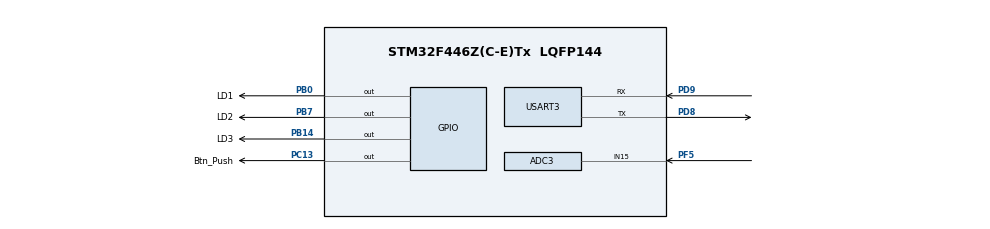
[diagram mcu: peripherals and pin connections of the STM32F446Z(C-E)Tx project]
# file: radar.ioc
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ADC3.Channel-0\#ChannelRegularConversion=ADC_CHANNEL_15
ADC3.ClockPrescaler=ADC_CLOCK_SYNC_PCLK_DIV2
ADC3.ContinuousConvMode=ENABLE
ADC3.DMAContinuousRequests=ENABLE
ADC3.InjNumberOfConversion=0
ADC3.NbrOfConversionFlag=1
ADC3.Rank-0\#ChannelRegularConversion=1
ADC3.SamplingTime-0\#ChannelRegularConversion=ADC_SAMPLETIME_3CYCLES
Dma.ADC3.0.Direction=DMA_PERIPH_TO_MEMORY
Dma.ADC3.0.FIFOMode=DMA_FIFOMODE_DISABLE
Dma.ADC3.0.Instance=DMA2_Stream0
Dma.ADC3.0.MemDataAlignment=DMA_MDATAALIGN_HALFWORD
Dma.ADC3.0.MemInc=DMA_MINC_ENABLE
Dma.ADC3.0.Mode=DMA_CIRCULAR
Dma.ADC3.0.PeriphDataAlignment=DMA_PDATAALIGN_HALFWORD
Dma.ADC3.0.PeriphInc=DMA_PINC_DISABLE
Dma.ADC3.0.Priority=DMA_PRIORITY_LOW
Dma.Request0=ADC3
Mcu.Family=STM32F4
Mcu.Name=STM32F446Z(C-E)Tx
Mcu.Package=LQFP144
NVIC.DMA2_Stream0_IRQn=true\:0\:0\:false\:false\:true\:false\:true\:true
NVIC.PriorityGroup=NVIC_PRIORITYGROUP_4
PB0.GPIO_Label=LD1
PB0.Signal=GPIO_Output
PB14.GPIO_Label=LD3
PB14.Signal=GPIO_Output
PB7.GPIO_Label=LD2
PB7.Signal=GPIO_Output
PC13.GPIO_Label=Btn_Push
PC13.Signal=GPIO_Output
PD8.Mode=Asynchronous
PD8.Signal=USART3_TX
PD9.Mode=Asynchronous
PD9.Signal=USART3_RX
PF5.Mode=IN15
PF5.Signal=ADC3_IN15
ProjectManager.HeapSize=0x200
ProjectManager.StackSize=0x400
ProjectManager.TargetToolchain=STM32CubeIDE
RCC.CortexFreq_Value=16000000
RCC.USBFreq_Value=96000000
RCC.VCOOutputFreq_Value=192000000
USART3.VirtualMode=VM_ASYNC
VP_TIM6_VS_ClockSourceINT.Mode=Enable_Timer
board=custom

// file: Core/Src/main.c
/* USER CODE BEGIN Header */
/**
  ******************************************************************************
  * @file           : main.c
  * @brief          : Main program body
  ******************************************************************************
  * @attention
  *
  * Copyright (c) 2024 STMicroelectronics.
  * All rights reserved.
  *
  * This software is licensed under terms that can be found in the LICENSE file
  * in the root directory of this software component.
  * If no LICENSE file comes with this software, it is provided AS-IS.
  *
  ******************************************************************************
  */
/* USER CODE END Header */
#include "main.h"

/* USER CODE BEGIN Includes */
#include "arm_math.h"
#include "arm_const_structs.h"
#include <math.h>
#include <stdio.h>
#include <string.h>
/* USER CODE END Includes */

/* USER CODE BEGIN PD */
#define TEST_LENGTH_SAMPLES 2048 //every even index of input is 0 (complex)
//#define ADC_CLOCKPRESCALER hadc3.Init.ClockPrescaler //see if this works
//#define ADC_SAMPLE_TIME hadc3.Init.Resolution/freq???
#define FFT_SIZE 1024 // Adjust the FFT size as needed
#define ADC_BUF_LEN 4096
/* USER CODE END PD */

ADC_HandleTypeDef hadc3;
DMA_HandleTypeDef hdma_adc3;

TIM_HandleTypeDef htim6;

UART_HandleTypeDef huart3;

/* USER CODE BEGIN PV */
extern float32_t testInput_f32_10khz[TEST_LENGTH_SAMPLES];
//static float32_t testOutput[TEST_LENGTH_SAMPLES/2];
uint16_t adc_buf[ADC_BUF_LEN];
uint8_t dma_hflag=0;
uint8_t dma_fflag=0;
/* USER CODE END PV */

void SystemClock_Config(void);
static void MX_GPIO_Init(void);
static void MX_DMA_Init(void);
static void MX_ADC3_Init(void);
static void MX_TIM6_Init(void);
static void MX_USART3_UART_Init(void);
/* USER CODE BEGIN PFP */
float32_t do_my_fft(float32_t* fft_input);
void print_msg(char * msg);

/* USER CODE END PFP */

/* USER CODE BEGIN 0 */
uint32_t fftSize = 1024;
uint32_t ifftFlag = 0;
uint32_t doBitReverse = 1;
arm_cfft_instance_f32 fft_instance;

float32_t fft_input[FFT_SIZE * 2];
static float32_t fft_output[FFT_SIZE];

//uint32_t adc_samples [FFT_SIZE];
//uint32_t adc_index=0;
float32_t freq;
arm_status math_status;
char message[100];

/* USER CODE END 0 */

int main(void)
{
  /* USER CODE BEGIN 1 */

	sprintf(message, "PRinting test\n");
	print_msg(message); //UART transmit
  /* USER CODE END 1 */

  /* MCU Configuration--------------------------------------------------------*/

  /* Reset of all peripherals, Initializes the Flash interface and the Systick. */
  HAL_Init();

  /* USER CODE BEGIN Init */

  //if(status==HAL_OK)
  //timer = __HAL_TIM_GET_COUNTER(&htim6);
  /* USER CODE END Init */

  /* Configure the system clock */
  SystemClock_Config();

  /* Initialize all configured peripherals */
  MX_GPIO_Init();
  MX_DMA_Init();
  MX_ADC3_Init();
  MX_TIM6_Init();
  MX_USART3_UART_Init();
  /* USER CODE BEGIN 2 */
  //  if(HAL_TIM_Base_Start(&htim6)!=HAL_OK){
  //	  Error_Handler(); //adjust the prescalar for TIM6 in config
  //  }
  //HAL_ADC_Start_DMA(&hadc3, (uint32_t*)adc_buf, ADC_BUF_LEN);

  /* USER CODE END 2 */

  /* Infinite loop */
  /* USER CODE BEGIN WHILE */
    while (1)
    {
  	  HAL_GPIO_TogglePin(LD2_GPIO_Port, LD2_Pin);
  	  HAL_Delay(10);

  	  print_msg("Printing\n");
  	  //print_msg("Hi");
  	  HAL_Delay(100);
  	  //timer= __HAL_TIM_GET_COUNTER(&htim6) - timer;

  	  //if (dma_hflag)
  	  freq=do_my_fft(testInput_f32_10khz);//on HALF the buffer
  	  //dma_hflag=0;
  	  if(freq!=0){
  		sprintf(message,"freq: %lf", freq);
  		print_msg(message);
  	  }

    /* USER CODE END WHILE */

  }
}

void SystemClock_Config(void)
{
  RCC_OscInitTypeDef RCC_OscInitStruct = {0};
  RCC_ClkInitTypeDef RCC_ClkInitStruct = {0};

  /** Configure the main internal regulator output voltage
  */
  __HAL_RCC_PWR_CLK_ENABLE();
  __HAL_PWR_VOLTAGESCALING_CONFIG(PWR_REGULATOR_VOLTAGE_SCALE3);

  /** Initializes the RCC Oscillators according to the specified parameters
  * in the RCC_OscInitTypeDef structure.
  */
  RCC_OscInitStruct.OscillatorType = RCC_OSCILLATORTYPE_HSI;
  RCC_OscInitStruct.HSIState = RCC_HSI_ON;
  RCC_OscInitStruct.HSICalibrationValue = RCC_HSICALIBRATION_DEFAULT;
  RCC_OscInitStruct.PLL.PLLState = RCC_PLL_NONE;
  if (HAL_RCC_OscConfig(&RCC_OscInitStruct) != HAL_OK)
  {
    Error_Handler();
  }

  /** Initializes the CPU, AHB and APB buses clocks
  */
  RCC_ClkInitStruct.ClockType = RCC_CLOCKTYPE_HCLK|RCC_CLOCKTYPE_SYSCLK
                              |RCC_CLOCKTYPE_PCLK1|RCC_CLOCKTYPE_PCLK2;
  RCC_ClkInitStruct.SYSCLKSource = RCC_SYSCLKSOURCE_HSI;
  RCC_ClkInitStruct.AHBCLKDivider = RCC_SYSCLK_DIV1;
  RCC_ClkInitStruct.APB1CLKDivider = RCC_HCLK_DIV1;
  RCC_ClkInitStruct.APB2CLKDivider = RCC_HCLK_DIV1;

  if (HAL_RCC_ClockConfig(&RCC_ClkInitStruct, FLASH_LATENCY_0) != HAL_OK)
  {
    Error_Handler();
  }
}

static void MX_ADC3_Init(void)
{

  ADC_ChannelConfTypeDef sConfig = {0};

  /** Configure the global features of the ADC (Clock, Resolution, Data Alignment and number of conversion)
  */
  hadc3.Instance = ADC3;
  hadc3.Init.ClockPrescaler = ADC_CLOCK_SYNC_PCLK_DIV2;
  hadc3.Init.Resolution = ADC_RESOLUTION_12B;
  hadc3.Init.ScanConvMode = DISABLE;
  hadc3.Init.ContinuousConvMode = ENABLE;
  hadc3.Init.DiscontinuousConvMode = DISABLE;
  hadc3.Init.ExternalTrigConvEdge = ADC_EXTERNALTRIGCONVEDGE_NONE;
  hadc3.Init.ExternalTrigConv = ADC_SOFTWARE_START;
  hadc3.Init.DataAlign = ADC_DATAALIGN_RIGHT;
  hadc3.Init.NbrOfConversion = 1;
  hadc3.Init.DMAContinuousRequests = ENABLE;
  hadc3.Init.EOCSelection = ADC_EOC_SINGLE_CONV;
  if (HAL_ADC_Init(&hadc3) != HAL_OK)
  {
    Error_Handler();
  }

  /** Configure for the selected ADC regular channel its corresponding rank in the sequencer and its sample time.
  */
  sConfig.Channel = ADC_CHANNEL_15;
  sConfig.Rank = 1;
  sConfig.SamplingTime = ADC_SAMPLETIME_3CYCLES;
  if (HAL_ADC_ConfigChannel(&hadc3, &sConfig) != HAL_OK)
  {
    Error_Handler();
  }

}

static void MX_TIM6_Init(void)
{

  TIM_MasterConfigTypeDef sMasterConfig = {0};

  htim6.Instance = TIM6;
  htim6.Init.Prescaler = 0;
  htim6.Init.CounterMode = TIM_COUNTERMODE_UP;
  htim6.Init.Period = 65535;
  htim6.Init.AutoReloadPreload = TIM_AUTORELOAD_PRELOAD_DISABLE;
  if (HAL_TIM_Base_Init(&htim6) != HAL_OK)
  {
    Error_Handler();
  }
  sMasterConfig.MasterOutputTrigger = TIM_TRGO_RESET;
  sMasterConfig.MasterSlaveMode = TIM_MASTERSLAVEMODE_DISABLE;
  if (HAL_TIMEx_MasterConfigSynchronization(&htim6, &sMasterConfig) != HAL_OK)
  {
    Error_Handler();
  }

}

static void MX_USART3_UART_Init(void)
{

  huart3.Instance = USART3;
  huart3.Init.BaudRate = 115200;
  huart3.Init.WordLength = UART_WORDLENGTH_8B;
  huart3.Init.StopBits = UART_STOPBITS_1;
  huart3.Init.Parity = UART_PARITY_NONE;
  huart3.Init.Mode = UART_MODE_TX_RX;
  huart3.Init.HwFlowCtl = UART_HWCONTROL_NONE;
  huart3.Init.OverSampling = UART_OVERSAMPLING_16;
  if (HAL_UART_Init(&huart3) != HAL_OK)
  {
    Error_Handler();
  }

}

static void MX_DMA_Init(void)
{

  /* DMA controller clock enable */
  __HAL_RCC_DMA2_CLK_ENABLE();

  /* DMA interrupt init */
  /* DMA2_Stream0_IRQn interrupt configuration */
  HAL_NVIC_SetPriority(DMA2_Stream0_IRQn, 0, 0);
  HAL_NVIC_EnableIRQ(DMA2_Stream0_IRQn);

}

static void MX_GPIO_Init(void)
{
  GPIO_InitTypeDef GPIO_InitStruct = {0};

  /* GPIO Ports Clock Enable */
  __HAL_RCC_GPIOC_CLK_ENABLE();
  __HAL_RCC_GPIOF_CLK_ENABLE();
  __HAL_RCC_GPIOB_CLK_ENABLE();
  __HAL_RCC_GPIOD_CLK_ENABLE();

  /*Configure GPIO pin Output Level */
  HAL_GPIO_WritePin(Btn_Push_GPIO_Port, Btn_Push_Pin, GPIO_PIN_RESET);

  /*Configure GPIO pin Output Level */
  HAL_GPIO_WritePin(GPIOB, LD1_Pin|LD3_Pin|LD2_Pin, GPIO_PIN_RESET);

  /*Configure GPIO pin : Btn_Push_Pin */
  GPIO_InitStruct.Pin = Btn_Push_Pin;
  GPIO_InitStruct.Mode = GPIO_MODE_OUTPUT_PP;
  GPIO_InitStruct.Pull = GPIO_NOPULL;
  GPIO_InitStruct.Speed = GPIO_SPEED_FREQ_LOW;
  HAL_GPIO_Init(Btn_Push_GPIO_Port, &GPIO_InitStruct);

  /*Configure GPIO pins : LD1_Pin LD3_Pin LD2_Pin */
  GPIO_InitStruct.Pin = LD1_Pin|LD3_Pin|LD2_Pin;
  GPIO_InitStruct.Mode = GPIO_MODE_OUTPUT_PP;
  GPIO_InitStruct.Pull = GPIO_NOPULL;
  GPIO_InitStruct.Speed = GPIO_SPEED_FREQ_LOW;
  HAL_GPIO_Init(GPIOB, &GPIO_InitStruct);

}

/* USER CODE BEGIN 4 */

//called when first half of buffer is full, now can use first LEN/2 samples
void HAL_ADC_ConvHalfCpltCallback(ADC_HandleTypeDef* hadc3){
	HAL_GPIO_WritePin(LD1_GPIO_Port, LD1_Pin, GPIO_PIN_SET);
	dma_hflag=1;
}

void HAL_ADC_ConvCpltCallback(ADC_HandleTypeDef* hadc3){
	HAL_GPIO_WritePin(LD1_GPIO_Port, LD1_Pin, GPIO_PIN_RESET);
	dma_fflag=1;
}

float32_t do_my_fft(float32_t* fft_input){ //since fft_input is an array

	// Convert ADC value to float32 and prepare the input buffer for FFT
	//float32_t input_sample = (float32_t)adc_val; //should there be a loop here? num samples is in fft_input, so array can hold up to 1048 or whatever
	//fft_input[0] = input_sample;
	//fft_input[1] = 0.0f;
	uint32_t peak_index=0;
	float32_t maxValue;

	math_status=arm_cfft_init_1024_f32(&fft_instance);
	// Perform FFT
	arm_cfft_f32(&fft_instance, fft_input,ifftFlag,doBitReverse);//forward, no bit reversal

	// Calculate magnitude spectrum
	arm_cmplx_mag_f32(fft_input, fft_output, FFT_SIZE);

	// Find peak index (index of dominant freq)
	arm_max_f32(fft_output, FFT_SIZE, &maxValue, &peak_index); //index of max value of fft output
	sprintf(message,"peak Index = %ld \n", peak_index);
	print_msg(message);//should be 213 for test
	// Calculate frequency in Hz
	uint8_t prescale=1;
	if (hadc3.Init.ClockPrescaler==ADC_CLOCK_SYNC_PCLK_DIV2)
		prescale=2;
	else if (hadc3.Init.ClockPrescaler==ADC_CLOCK_SYNC_PCLK_DIV4)
		prescale=4;
	uint32_t adc_clock_frequency = 0x1C9C380/prescale;//ADC clock prescaler=div4;
	uint32_t adc_conversions_per_second = 0x0;/* Number of ADC conversions per second */
	float32_t sampling_frequency = adc_clock_frequency / adc_conversions_per_second;

	//float32_t sampling_frequency = (float32_t)ADC_SAMPLETIME_3CYCLES/ (float32_t)ADC_CLOCKPRESCALER;  //clock freq/conversions per second
	return (float32_t)peak_index * sampling_frequency / FFT_SIZE; //freq = peak*freq resolution (bin width)

 }

void print_msg(char * msg) {
	HAL_UART_Transmit(&huart3, (uint8_t *)msg, strlen(msg), 100);
}

/* USER CODE END 4 */

void Error_Handler(void)
{
  __disable_irq();
  while (1)
  {
  }
}
